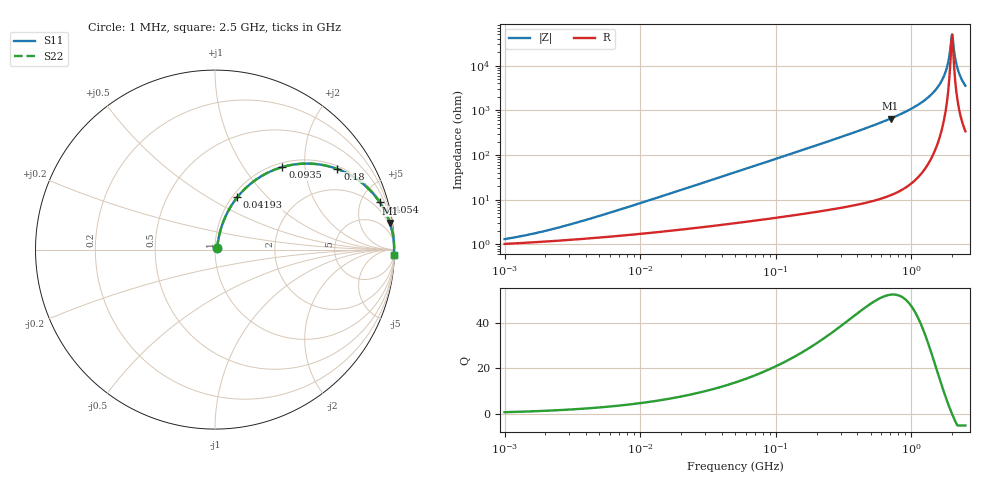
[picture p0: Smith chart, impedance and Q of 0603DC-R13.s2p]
# MHz  S  MA  R  50
!Freq  MagS11  AngS11  MagS21  AngS21  MagS12  AngS12  MagS22  AngS22
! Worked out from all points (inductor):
!   801 points, 1 MHz to 2.5 GHz, reference 50 ohm
!   read as one part in series: L = 130 nH near 5.273 MHz
!   highest Q = 52.3 at 701.1 MHz (marker M1), where L = 148 nH
!   self-resonance near 1.977 GHz
!   S11 on the Smith chart (normalised r, x): 1 MHz: 1.02, +0.02; 41.93 MHz: 1.06, +0.69; 93.5 MHz: 1.08, +1.53; 180 MHz: 1.10, +2.97; 405.4 MHz: 1.16, +6.91; 2.5 GHz: 8, -71
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1  0.01293 38.3  0.9899 -0.5  0.9899 -0.5  0.01293 38.3
3.70813  0.03258 64.8  0.9866 -1.7  0.9866 -1.7  0.03258 64.8
13.61641  0.1101 74.2  0.9757 -6.2  0.9757 -6.2  0.1101 74.2
41.92918  0.3173 66.9  0.9231 -18.4  0.9231 -18.4  0.3173 66.9
50  0.3699 64.2  0.9027 -21.6  0.9027 -21.6  0.3699 64.2
93.49862  0.5942 50.8  0.7754 -36.4  0.7754 -36.4  0.5942 50.8
180.0457  0.8164 33.4  0.5503 -54.7  0.5503 -54.7  0.8164 33.4
185.4065  0.8242 32.6  0.5392 -55.5  0.5392 -55.5  0.8242 32.6
405.4329  0.9549 16.0  0.2764 -72.7  0.2764 -72.7  0.9549 16.0
680.8203  0.9847 9.0  0.1564 -79.9  0.1564 -79.9  0.9847 9.0
701.0916  0.9857 8.7  0.1508 -80.2  0.1508 -80.2  0.9857 8.7
1121.118  0.9955 4.3  0.07436 -84.4  0.07436 -84.4  0.9955 4.3
1503.398  0.9977 2.0  0.03511 -85.3  0.03511 -85.3  0.9977 2.0
1758.056  0.9981 0.9  0.0156 -82.6  0.0156 -82.6  0.9981 0.9
1846.162  0.9981 0.5  0.009657 -78.4  0.009657 -78.4  0.9981 0.5
1938.684  0.9981 0.2  0.003982 -60.8  0.003982 -60.8  0.9981 0.2
1996.408  0.998 -0.0  0.001994 3.2  0.001994 3.2  0.998 -0.0
2055.85  0.9979 -0.2  0.004236 60.8  0.004236 60.8  0.9979 -0.2
2137.87  0.9978 -0.5  0.008765 75.3  0.008765 75.3  0.9978 -0.5
2223.161  0.9977 -0.8  0.01349 79.6  0.01349 79.6  0.9977 -0.8
2357.52  0.9973 -1.2  0.02069 82.0  0.02069 82.0  0.9973 -1.2
2500  0.9969 -1.6  0.02797 82.9  0.02797 82.9  0.9969 -1.6
